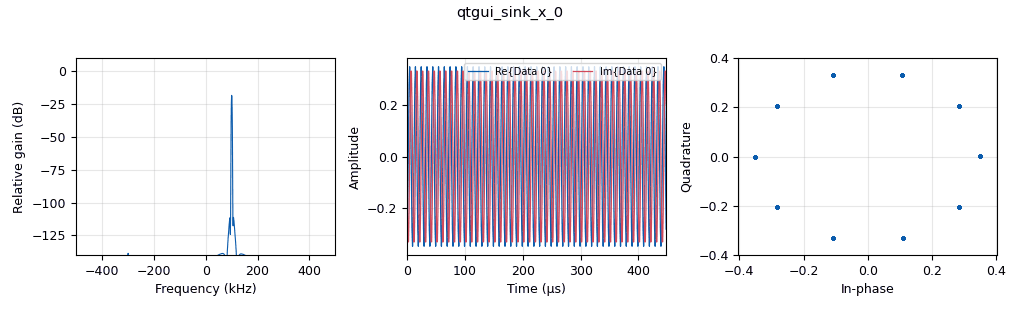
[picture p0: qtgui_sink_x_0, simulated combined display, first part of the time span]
options:
  parameters:
    generate_options: qt_gui
    id: prueba1calibracion
    output_language: python
    title: calibracion
  states: {}

blocks:
- name: amplitud
  id: variable_qtgui_range
  parameters:
    orient: Qt.Horizontal
    start: '0'
    step: '0.05'
    stop: '1'
    value: '0.35'
  states: {}
- name: amplitud_db
  id: variable_qtgui_range
  parameters:
    orient: Qt.Horizontal
    start: '0'
    step: '.001'
    stop: '1'
    value: '.5'
  states: {}
- name: ganancia
  id: variable_qtgui_range
  parameters:
    label: ganancia
    orient: Qt.Horizontal
    start: '0'
    step: '1'
    stop: '50'
    value: '50'
  states: {}
- name: samp_rate
  id: variable
  parameters:
    value: '1000000'
  states: {}
- name: analog_sig_source_x_0
  id: analog_sig_source_x
  parameters:
    amp: amplitud
    freq: 100e3
    offset: '0'
    phase: '0'
    samp_rate: samp_rate
    type: complex
    waveform: analog.GR_COS_WAVE
  states: {}
- name: import_0
  id: import
  parameters:
    imports: import math
  states: {}
- name: osmosdr_sink_0
  id: osmosdr_sink
  parameters:
    args: '"hackrf=0"'
    bb_gain0: '20'
    freq0: 161.925e6
    gain0: ganancia
    if_gain0: '20'
    sample_rate: samp_rate
    sync: sync
    type: fc32
  states: {}
- name: qtgui_sink_x_0
  id: qtgui_sink_x
  parameters:
    bw: samp_rate
    fc: '0'
    fftsize: '1024'
    type: complex
    wintype: firdes.WIN_BLACKMAN_hARRIS
  states: {}

connections:
- [analog_sig_source_x_0, '0', osmosdr_sink_0, '0']
- [analog_sig_source_x_0, '0', qtgui_sink_x_0, '0']

metadata:
  file_format: 1
